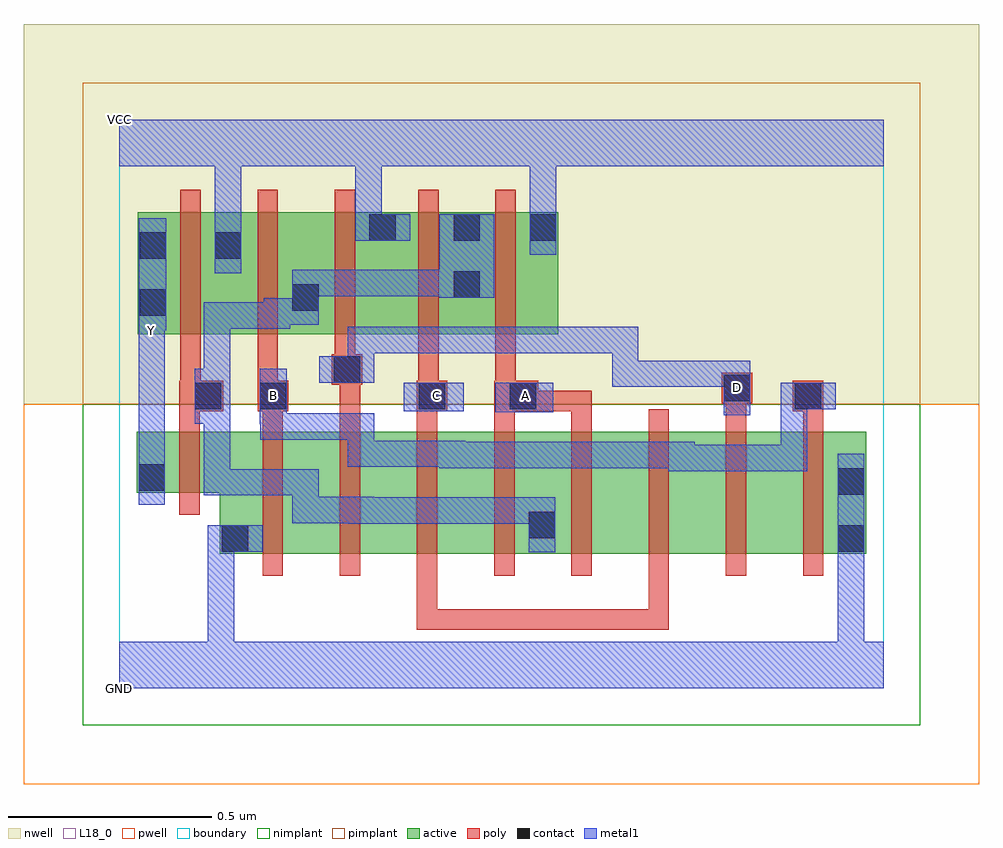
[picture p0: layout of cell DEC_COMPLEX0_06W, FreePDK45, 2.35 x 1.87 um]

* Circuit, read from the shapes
.subckt DEC_COMPLEX0_06W A B C D GND VCC Y
M1 GND n1 Y VSUBS nfet w=0.15u l=0.05u
M2 n2 B GND VSUBS nfet w=0.3u l=0.05u
M3 n3 D n2 VSUBS nfet w=0.3u l=0.05u
M4 n4 C n3 VSUBS nfet w=0.3u l=0.05u
M5 n1 A n4 VSUBS nfet w=0.3u l=0.05u
M6 n5 A n1 VSUBS nfet w=0.3u l=0.05u
M7 n6 C n5 VSUBS nfet w=0.3u l=0.05u
M8 n7 D n6 VSUBS nfet w=0.3u l=0.05u
M9 GND B n7 VSUBS nfet w=0.3u l=0.05u
M10 VCC n1 Y n8 pfet w=0.3u l=0.05u
M11 n1 B VCC n8 pfet w=0.3u l=0.05u
M12 VCC D n1 n8 pfet w=0.3u l=0.05u
M13 n1 C VCC n8 pfet w=0.3u l=0.05u
M14 VCC A n1 n8 pfet w=0.3u l=0.05u
.ends

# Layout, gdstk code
import gdstk
lib = gdstk.Library(unit=1e-6, precision=1e-09)
def R(c, l, rs):  # rectangles x0, y0, x1, y1
    for r in rs: c.add(gdstk.rectangle(r[:2], r[2:], *l))
def A(c, l, x, y, w, h, nx, ny, dx, dy):  # array of equal rectangles
    R(c, l, [(x+i*dx, y+j*dy, x+i*dx+w, y+j*dy+h) for i in range(nx) for j in range(ny)])
active = (1, 0)
pwell = (2, 0)
nwell = (3, 0)
nimplant = (4, 0)
pimplant = (5, 0)
poly = (9, 0)
contact = (10, 0)
metal1 = (11, 0)
L18_0 = (18, 0)
boundary = (235, 0)

dec_complex0_06w = lib.new_cell('DEC_COMPLEX0_06W')
R(dec_complex0_06w, active, [(0.247,0.332,0.472,0.632), (0.247,0.332,0.322,0.627), (0.472,0.332,0.662,0.632), (0.662,0.332,0.852,0.632), (0.852,0.332,1.077,0.632), (1.002,0.332,1.077,0.632), (1.002,0.332,1.232,0.632), (1.232,0.332,1.422,0.632), (1.422,0.332,1.612,0.632), (1.612,0.332,1.837,0.632), (1.762,0.332,1.837,0.632), (0.042,0.482,0.322,0.632), (0.042,0.482,0.117,0.632), (0.045,0.872,0.305,1.172), (0.045,0.872,0.12,1.127), (0.23,0.872,0.495,1.172), (0.42,0.872,0.685,1.172), (0.42,0.872,0.495,1.055), (0.61,0.872,0.892,1.172), (0.817,0.872,0.892,1.172), (0.817,0.872,1.08,1.172), (1.005,0.872,1.08,1.172), (0.23,1.007,0.305,1.127), (0.61,1.007,0.685,1.172)])
R(dec_complex0_06w, pwell, [(-0.235,-0.235,2.115,0.7)])
R(dec_complex0_06w, nwell, [(-0.235,0.7,2.115,1.635)])
R(dec_complex0_06w, nimplant, [(-0.09,-0.09,1.97,0.7)])
R(dec_complex0_06w, pimplant, [(-0.09,0.7,1.97,1.49)])
A(dec_complex0_06w, poly, 0.352, 0.277, 0.05, 0.41, 8, 1, 0.19, 0)
A(dec_complex0_06w, poly, 0.732, 0.637, 0.05, 0.095, 3, 1, 0.19, 0)
A(dec_complex0_06w, poly, 0.15, 0.817, 0.05, 0.41, 3, 1, 0.19, 0)
R(dec_complex0_06w, poly, [(0.732,0.145,0.782,0.327), (0.732,0.145,0.782,0.195), (0.732,0.145,0.782,0.195), (0.732,0.145,0.782,0.195), (0.732,0.145,1.03,0.195), (0.98,0.145,1.03,0.195), (0.98,0.145,1.03,0.195), (0.98,0.145,1.03,0.195), (0.98,0.145,1.162,0.195), (1.112,0.145,1.162,0.195), (1.112,0.145,1.352,0.195), (1.302,0.145,1.352,0.327), (1.302,0.145,1.352,0.195), (1.302,0.145,1.352,0.195), (1.302,0.145,1.352,0.195), (0.147,0.427,0.197,0.687), (0.147,0.637,0.197,0.732), (0.352,0.637,0.402,0.732), (0.542,0.637,0.592,0.797), (1.492,0.637,1.542,0.752), (1.682,0.637,1.732,0.732), (0.147,0.682,0.255,0.757), (0.34,0.682,0.415,0.757), (0.732,0.682,0.807,0.757), (0.922,0.682,1.03,0.757), (0.98,0.682,1.03,0.732), (0.98,0.682,1.03,0.732), (0.98,0.682,1.162,0.732), (1.112,0.682,1.162,0.732), (1.657,0.682,1.732,0.757), (1.482,0.702,1.557,0.777), (0.15,0.707,0.2,0.867), (0.34,0.707,0.39,0.867), (0.735,0.707,0.785,0.867), (0.925,0.707,0.975,0.867), (0.522,0.747,0.597,0.822), (0.53,0.772,0.58,0.867), (0.735,0.817,0.785,1.227), (0.925,0.817,0.975,1.227)])
R(dec_complex0_06w, contact, [(0.252,0.337,0.317,0.402), (1.767,0.337,1.832,0.402), (1.007,0.37,1.072,0.435), (1.767,0.477,1.832,0.542), (0.047,0.487,0.112,0.552), (0.185,0.687,0.25,0.752), (0.345,0.687,0.41,0.752), (0.737,0.687,0.802,0.752), (0.96,0.687,1.025,0.752), (1.662,0.687,1.727,0.752), (1.487,0.707,1.552,0.772), (0.527,0.752,0.592,0.817), (0.05,0.917,0.115,0.982), (0.425,0.93,0.49,0.995), (0.822,0.962,0.887,1.027), (0.05,1.057,0.115,1.122), (0.235,1.057,0.3,1.122), (0.615,1.102,0.68,1.167), (0.822,1.102,0.887,1.167), (1.01,1.102,1.075,1.167)])
R(dec_complex0_06w, metal1, [(0,0,1.88,0.115), (0.217,0.05,0.282,0.115), (0.217,0.05,0.282,0.115), (0.217,0.05,0.282,0.115), (0.217,0.05,0.282,0.115), (0.217,0.05,0.282,0.402), (1.767,0.05,1.832,0.367), (1.767,0.05,1.832,0.115), (1.767,0.05,1.832,0.115), (1.767,0.05,1.832,0.115), (1.767,0.05,1.832,0.115), (1.767,0.302,1.832,0.577), (1.007,0.335,1.072,0.47), (0.217,0.337,0.352,0.402), (0.562,0.405,0.627,0.47), (0.562,0.405,0.627,0.47), (0.562,0.405,0.807,0.47), (0.562,0.405,0.627,0.472), (0.742,0.405,0.807,0.47), (0.742,0.405,0.807,0.47), (0.742,0.405,0.807,0.47), (0.742,0.405,0.99,0.47), (0.925,0.405,0.99,0.47), (0.925,0.405,1.072,0.47), (0.425,0.407,0.627,0.472), (0.425,0.407,0.49,0.54), (0.047,0.452,0.112,0.587), (0.207,0.475,0.272,0.54), (0.207,0.475,0.272,0.54), (0.207,0.475,0.272,0.54), (0.207,0.475,0.42,0.54), (0.207,0.475,0.272,0.717), (0.355,0.475,0.42,0.54), (0.355,0.475,0.49,0.54), (0.047,0.522,0.112,0.877), (1.35,0.535,1.552,0.6), (1.35,0.535,1.415,0.607), (1.487,0.535,1.552,0.6), (1.487,0.535,1.552,0.6), (1.487,0.535,1.552,0.6), (1.487,0.535,1.692,0.6), (1.627,0.535,1.692,0.6), (1.627,0.535,1.692,0.752), (0.787,0.542,0.99,0.607), (0.787,0.542,0.852,0.61), (0.925,0.542,0.99,0.607), (0.925,0.542,1.127,0.607), (1.062,0.542,1.127,0.607), (1.062,0.542,1.127,0.607), (1.062,0.542,1.127,0.607), (1.062,0.542,1.415,0.607), (1.35,0.542,1.415,0.607), (1.35,0.542,1.415,0.607), (0.562,0.545,0.627,0.61), (0.562,0.545,0.627,0.61), (0.562,0.545,0.852,0.61), (0.562,0.545,0.627,0.677), (0.787,0.545,0.852,0.61), (0.787,0.545,0.852,0.61), (0.347,0.612,0.412,0.677), (0.347,0.612,0.627,0.677), (0.347,0.612,0.412,0.717), (0.185,0.652,0.25,0.787), (0.185,0.652,0.272,0.717), (0.207,0.652,0.272,0.717), (0.207,0.652,0.272,0.95), (0.345,0.652,0.412,0.787), (0.347,0.652,0.412,0.717), (0.347,0.652,0.412,0.717), (1.487,0.672,1.552,0.807), (0.925,0.68,1.067,0.752), (0.7,0.682,0.847,0.752), (1.627,0.687,1.692,0.752), (1.627,0.687,1.692,0.752), (1.627,0.687,1.762,0.752), (1.212,0.742,1.277,0.807), (1.212,0.742,1.415,0.807), (1.212,0.742,1.277,0.89), (1.35,0.742,1.415,0.807), (1.35,0.742,1.552,0.807), (1.487,0.742,1.552,0.807), (1.487,0.742,1.552,0.807), (0.492,0.752,0.627,0.817), (0.562,0.752,0.627,0.817), (0.562,0.752,0.627,0.817), (0.562,0.752,0.627,0.89), (0.047,0.812,0.112,0.947), (0.562,0.825,0.627,0.89), (0.562,0.825,0.852,0.89), (0.787,0.825,0.852,0.89), (0.787,0.825,0.852,0.89), (0.787,0.825,0.852,0.89), (0.787,0.825,0.99,0.89), (0.925,0.825,0.99,0.89), (0.925,0.825,0.99,0.89), (0.925,0.825,0.99,0.89), (0.925,0.825,1.277,0.89), (1.212,0.825,1.277,0.89), (1.212,0.825,1.277,0.89), (1.212,0.825,1.277,0.89), (0.047,0.882,0.112,0.947), (0.047,0.882,0.115,1.157), (0.207,0.885,0.272,0.95), (0.207,0.885,0.42,0.95), (0.355,0.885,0.42,0.96), (0.355,0.895,0.49,0.96), (0.425,0.895,0.49,1.03), (0.787,0.962,0.922,1.167), (0.425,0.965,0.49,1.03), (0.425,0.965,0.49,1.03), (0.425,0.965,0.627,1.03), (0.562,0.965,0.627,1.03), (0.562,0.965,0.627,1.03), (0.562,0.965,0.627,1.03), (0.562,0.965,0.852,1.03), (0.787,0.965,0.852,1.03), (0.787,0.965,0.852,1.03), (0.235,1.022,0.3,1.157), (1.01,1.067,1.075,1.202), (0.235,1.092,0.3,1.35), (0.58,1.102,0.715,1.167), (0.58,1.102,0.645,1.35), (1.01,1.137,1.075,1.202), (1.01,1.137,1.075,1.202), (1.01,1.137,1.075,1.35), (0,1.285,1.88,1.4), (0.235,1.285,0.3,1.35), (0.235,1.285,0.3,1.35), (0.58,1.285,0.645,1.35), (0.58,1.285,0.645,1.35)])
R(dec_complex0_06w, L18_0, [(0,0,1.88,0.115), (0.217,0.05,0.282,0.115), (0.217,0.05,0.282,0.115), (0.217,0.05,0.282,0.115), (0.217,0.05,0.282,0.115), (0.217,0.05,0.282,0.402), (1.767,0.05,1.832,0.115), (1.767,0.05,1.832,0.115), (1.767,0.05,1.832,0.115), (1.767,0.05,1.832,0.115), (1.767,0.05,1.832,0.367), (1.767,0.302,1.832,0.577), (0.217,0.337,0.352,0.402), (0.047,0.452,0.112,0.587), (0.047,0.522,0.112,0.877), (1.35,0.535,1.552,0.6), (1.35,0.535,1.415,0.607), (1.487,0.535,1.552,0.6), (1.487,0.535,1.552,0.6), (1.487,0.535,1.552,0.6), (1.487,0.535,1.692,0.6), (1.627,0.535,1.692,0.6), (1.627,0.535,1.692,0.752), (0.787,0.542,0.852,0.61), (0.787,0.542,0.99,0.607), (0.925,0.542,0.99,0.607), (0.925,0.542,1.127,0.607), (1.062,0.542,1.127,0.607), (1.062,0.542,1.127,0.607), (1.062,0.542,1.127,0.607), (1.062,0.542,1.415,0.607), (1.35,0.542,1.415,0.607), (1.35,0.542,1.415,0.607), (0.562,0.545,0.627,0.61), (0.562,0.545,0.627,0.61), (0.562,0.545,0.627,0.677), (0.562,0.545,0.852,0.61), (0.787,0.545,0.852,0.61), (0.787,0.545,0.852,0.61), (0.347,0.612,0.412,0.677), (0.347,0.612,0.412,0.717), (0.347,0.612,0.627,0.677), (0.345,0.652,0.412,0.787), (0.347,0.652,0.412,0.717), (0.347,0.652,0.412,0.717), (1.487,0.672,1.552,0.807), (0.925,0.68,1.067,0.752), (0.7,0.682,0.847,0.752), (0.347,0.687,0.412,0.752), (0.747,0.687,0.812,0.752), (0.967,0.687,1.032,0.752), (1.627,0.687,1.692,0.752), (1.627,0.687,1.692,0.752), (1.627,0.687,1.762,0.752), (1.487,0.707,1.552,0.772), (1.212,0.742,1.277,0.807), (1.212,0.742,1.415,0.807), (1.212,0.742,1.277,0.89), (1.35,0.742,1.415,0.807), (1.35,0.742,1.552,0.807), (1.487,0.742,1.552,0.807), (1.487,0.742,1.552,0.807), (0.492,0.752,0.627,0.817), (0.562,0.752,0.627,0.817), (0.562,0.752,0.627,0.817), (0.562,0.752,0.627,0.89), (0.047,0.812,0.112,0.947), (0.562,0.825,0.627,0.89), (0.562,0.825,0.852,0.89), (0.787,0.825,0.852,0.89), (0.787,0.825,0.852,0.89), (0.787,0.825,0.852,0.89), (0.787,0.825,0.99,0.89), (0.925,0.825,0.99,0.89), (0.925,0.825,0.99,0.89), (0.925,0.825,0.99,0.89), (0.925,0.825,1.277,0.89), (1.212,0.825,1.277,0.89), (1.212,0.825,1.277,0.89), (1.212,0.825,1.277,0.89), (0.047,0.847,0.112,0.912), (0.047,0.882,0.115,1.157), (0.047,0.882,0.112,0.947), (0.235,1.022,0.3,1.157), (1.01,1.067,1.075,1.202), (0.235,1.092,0.3,1.35), (0.58,1.102,0.715,1.167), (0.58,1.102,0.645,1.35), (1.01,1.137,1.075,1.202), (1.01,1.137,1.075,1.202), (1.01,1.137,1.075,1.35), (0,1.285,1.88,1.4), (0.235,1.285,0.3,1.35), (0.235,1.285,0.3,1.35), (0.58,1.285,0.645,1.35), (0.58,1.285,0.645,1.35)])
R(dec_complex0_06w, boundary, [(0,0,1.88,1.4)])
dec_complex0_06w.add(gdstk.Label('A', (1,0.72), layer=11, texttype=0))
dec_complex0_06w.add(gdstk.Label('B', (0.38,0.72), layer=11, texttype=0))
dec_complex0_06w.add(gdstk.Label('C', (0.78,0.72), layer=11, texttype=0))
dec_complex0_06w.add(gdstk.Label('D', (1.52,0.74), layer=11, texttype=0))
dec_complex0_06w.add(gdstk.Label('Y', (0.08,0.88), layer=11, texttype=0))
dec_complex0_06w.add(gdstk.Label('VCC', (0,1.4), layer=11, texttype=0))
dec_complex0_06w.add(gdstk.Label('GND', (0,0), layer=11, texttype=0))

lib.write_gds('DEC_COMPLEX0_06W.gds')
